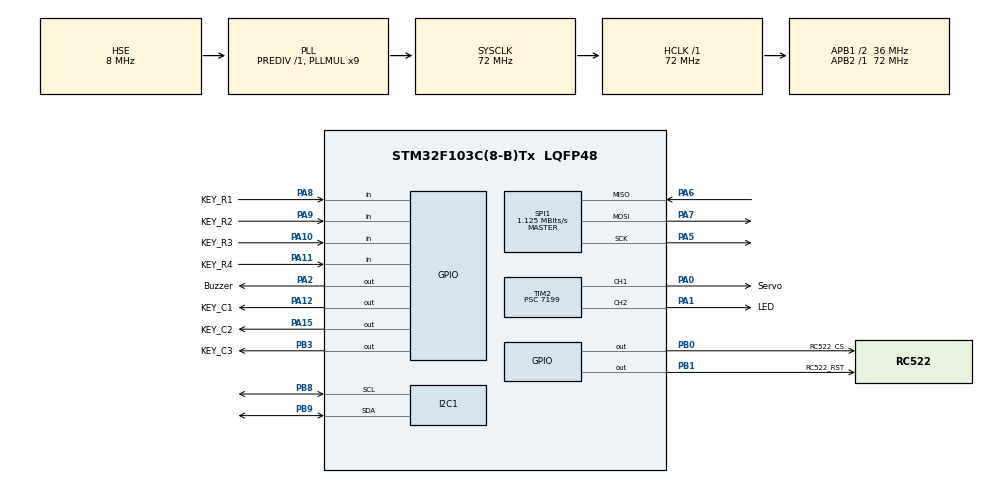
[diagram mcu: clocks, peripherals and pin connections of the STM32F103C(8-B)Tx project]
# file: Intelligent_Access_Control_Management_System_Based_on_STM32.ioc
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FREERTOS.Tasks01=defaultTask,0,128,StartDefaultTask,Default,NULL,Dynamic,NULL,NULL
Mcu.Family=STM32F1
Mcu.Name=STM32F103C(8-B)Tx
Mcu.Package=LQFP48
NVIC.PriorityGroup=NVIC_PRIORITYGROUP_4
NVIC.TIM1_UP_IRQn=true\:15\:0\:false\:false\:true\:false\:false\:true\:true
NVIC.TimeBase=TIM1_UP_IRQn
NVIC.TimeBaseIP=TIM1
PA0-WKUP.GPIO_Label=Servo
PA0-WKUP.Signal=S_TIM2_CH1_ETR
PA1.GPIO_Label=LED
PA1.Signal=S_TIM2_CH2
PA10.GPIO_Label=KEY_R3
PA10.GPIO_PuPd=GPIO_PULLUP
PA10.Signal=GPIO_Input
PA11.GPIO_Label=KEY_R4
PA11.GPIO_PuPd=GPIO_PULLUP
PA11.Signal=GPIO_Input
PA12.GPIO_Label=KEY_C1
PA12.GPIO_Speed=GPIO_SPEED_FREQ_HIGH
PA12.PinState=GPIO_PIN_SET
PA12.Signal=GPIO_Output
PA13.Mode=Serial_Wire
PA13.Signal=SYS_JTMS-SWDIO
PA14.Mode=Serial_Wire
PA14.Signal=SYS_JTCK-SWCLK
PA15.GPIO_Label=KEY_C2
PA15.GPIO_Speed=GPIO_SPEED_FREQ_HIGH
PA15.PinState=GPIO_PIN_SET
PA15.Signal=GPIO_Output
PA2.GPIO_Label=Buzzer
PA2.GPIO_Speed=GPIO_SPEED_FREQ_HIGH
PA2.PinState=GPIO_PIN_SET
PA2.Signal=GPIO_Output
PA5.Mode=Full_Duplex_Master
PA5.Signal=SPI1_SCK
PA6.Mode=Full_Duplex_Master
PA6.Signal=SPI1_MISO
PA7.Mode=Full_Duplex_Master
PA7.Signal=SPI1_MOSI
PA8.GPIO_Label=KEY_R1
PA8.GPIO_PuPd=GPIO_PULLUP
PA8.Signal=GPIO_Input
PA9.GPIO_Label=KEY_R2
PA9.GPIO_PuPd=GPIO_PULLUP
PA9.Signal=GPIO_Input
PB0.GPIO_Label=RC522_CS
PB0.GPIO_Speed=GPIO_SPEED_FREQ_HIGH
PB0.PinState=GPIO_PIN_SET
PB0.Signal=GPIO_Output
PB1.GPIO_Label=RC522_RST
PB1.GPIO_Speed=GPIO_SPEED_FREQ_HIGH
PB1.PinState=GPIO_PIN_SET
PB1.Signal=GPIO_Output
PB3.GPIO_Label=KEY_C3
PB3.GPIO_Speed=GPIO_SPEED_FREQ_HIGH
PB3.PinState=GPIO_PIN_SET
PB3.Signal=GPIO_Output
PB8.Mode=I2C
PB8.Signal=I2C1_SCL
PB9.Mode=I2C
PB9.Signal=I2C1_SDA
PC14-OSC32_IN.Mode=LSE-External-Oscillator
PC14-OSC32_IN.Signal=RCC_OSC32_IN
PC15-OSC32_OUT.Mode=LSE-External-Oscillator
PC15-OSC32_OUT.Signal=RCC_OSC32_OUT
PD0-OSC_IN.Mode=HSE-External-Oscillator
PD0-OSC_IN.Signal=RCC_OSC_IN
PD1-OSC_OUT.Mode=HSE-External-Oscillator
PD1-OSC_OUT.Signal=RCC_OSC_OUT
ProjectManager.HeapSize=0x200
ProjectManager.StackSize=0x400
ProjectManager.TargetToolchain=MDK-ARM V5.32
RCC.AHBFreq_Value=72000000
RCC.APB1CLKDivider=RCC_HCLK_DIV2
RCC.APB1Freq_Value=36000000
RCC.APB1TimFreq_Value=72000000
RCC.APB2Freq_Value=72000000
RCC.APB2TimFreq_Value=72000000
RCC.HCLKFreq_Value=72000000
RCC.PLLMUL=RCC_PLL_MUL9
RCC.PLLSourceVirtual=RCC_PLLSOURCE_HSE
RCC.SYSCLKFreq_VALUE=72000000
RCC.SYSCLKSource=RCC_SYSCLKSOURCE_PLLCLK
RCC.USBFreq_Value=72000000
SH.S_TIM2_CH1_ETR.0=TIM2_CH1,PWM Generation1 CH1
SH.S_TIM2_CH2.0=TIM2_CH2,PWM Generation2 CH2
SPI1.BaudRatePrescaler=SPI_BAUDRATEPRESCALER_64
SPI1.CalculateBaudRate=1.125 MBits/s
SPI1.Direction=SPI_DIRECTION_2LINES
SPI1.Mode=SPI_MODE_MASTER
SPI1.VirtualType=VM_MASTER
TIM2.Channel-PWM\ Generation1\ CH1=TIM_CHANNEL_1
TIM2.Channel-PWM\ Generation2\ CH2=TIM_CHANNEL_2
TIM2.OCPolarity_1=TIM_OCPOLARITY_HIGH
TIM2.Period=99
TIM2.Prescaler=7199
VP_FREERTOS_VS_CMSIS_V1.Mode=CMSIS_V1
VP_SYS_VS_tim1.Mode=TIM1
VP_TIM2_VS_ClockSourceINT.Mode=Internal
board=custom

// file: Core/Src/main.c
/* USER CODE BEGIN Header */
/**
  ******************************************************************************
  * @file           : main.c
  * @brief          : Main program body
  ******************************************************************************
  * @attention
  *
  * Copyright (c) 2026 STMicroelectronics.
  * All rights reserved.
  *
  * This software is licensed under terms that can be found in the LICENSE file
  * in the root directory of this software component.
  * If no LICENSE file comes with this software, it is provided AS-IS.
  *
  ******************************************************************************
  */
/* USER CODE END Header */
#include "main.h"
#include "cmsis_os.h"
#include "i2c.h"
#include "spi.h"
#include "tim.h"
#include "gpio.h"

/* USER CODE BEGIN Includes */
#include "OLED.h"
#include "Buzzer.h"
#include "RC522.h"
/* USER CODE END Includes */

void SystemClock_Config(void);
void MX_FREERTOS_Init(void);

int main(void)
{

  /* MCU Configuration--------------------------------------------------------*/

  /* Reset of all peripherals, Initializes the Flash interface and the Systick. */
  HAL_Init();

  /* Configure the system clock */
  SystemClock_Config();

  /* Initialize all configured peripherals */
  MX_GPIO_Init();
  MX_I2C1_Init();
  MX_SPI1_Init();
  MX_TIM2_Init();
  /* USER CODE BEGIN 2 */
  //OLED_Init();

  /* USER CODE END 2 */

  /* Call init function for freertos objects (in freertos.c) */
  //MX_FREERTOS_Init();

  /* Start scheduler */
  //osKernelStart();

  /* We should never get here as control is now taken by the scheduler */
  /* Infinite loop */
  /* USER CODE BEGIN WHILE */
  int8_t status;
  unsigned char TagType[2];  // 卡片类型
  unsigned char SN[4];       // 4字节卡号

  RC522_Init();
  OLED_Init();
  OLED_Clear();

  while (1)
  {
    /* USER CODE END WHILE */

    /* USER CODE BEGIN 3 */
    status = RC522_Request(PICC_REQIDL, TagType);
    OLED_ShowSignedNum(4,1,status,4);
    if(status == MI_OK)
    {
        // 防冲突读取UID
        if(RC522_Anticoll(SN) == MI_OK)
        {

          OLED_ShowHexNum(1, 1, SN[0], 2);
          OLED_ShowHexNum(1,3, SN[1], 2);
          OLED_ShowHexNum(1,5, SN[2], 2);
          OLED_ShowHexNum(1,7, SN[3], 2);

          // 卡片休眠
          RC522_Halt();
        }
    }
    HAL_Delay(200);

  }
  /* USER CODE END 3 */
}

void SystemClock_Config(void)
{
  RCC_OscInitTypeDef RCC_OscInitStruct = {0};
  RCC_ClkInitTypeDef RCC_ClkInitStruct = {0};

  /** Initializes the RCC Oscillators according to the specified parameters
  * in the RCC_OscInitTypeDef structure.
  */
  RCC_OscInitStruct.OscillatorType = RCC_OSCILLATORTYPE_HSE;
  RCC_OscInitStruct.HSEState = RCC_HSE_ON;
  RCC_OscInitStruct.HSEPredivValue = RCC_HSE_PREDIV_DIV1;
  RCC_OscInitStruct.HSIState = RCC_HSI_ON;
  RCC_OscInitStruct.PLL.PLLState = RCC_PLL_ON;
  RCC_OscInitStruct.PLL.PLLSource = RCC_PLLSOURCE_HSE;
  RCC_OscInitStruct.PLL.PLLMUL = RCC_PLL_MUL9;
  if (HAL_RCC_OscConfig(&RCC_OscInitStruct) != HAL_OK)
  {
    Error_Handler();
  }

  /** Initializes the CPU, AHB and APB buses clocks
  */
  RCC_ClkInitStruct.ClockType = RCC_CLOCKTYPE_HCLK|RCC_CLOCKTYPE_SYSCLK
                              |RCC_CLOCKTYPE_PCLK1|RCC_CLOCKTYPE_PCLK2;
  RCC_ClkInitStruct.SYSCLKSource = RCC_SYSCLKSOURCE_PLLCLK;
  RCC_ClkInitStruct.AHBCLKDivider = RCC_SYSCLK_DIV1;
  RCC_ClkInitStruct.APB1CLKDivider = RCC_HCLK_DIV2;
  RCC_ClkInitStruct.APB2CLKDivider = RCC_HCLK_DIV1;

  if (HAL_RCC_ClockConfig(&RCC_ClkInitStruct, FLASH_LATENCY_2) != HAL_OK)
  {
    Error_Handler();
  }
}

void HAL_TIM_PeriodElapsedCallback(TIM_HandleTypeDef *htim)
{
  if (htim->Instance == TIM1) {
    HAL_IncTick();
  }
}

void Error_Handler(void)
{
  __disable_irq();
  while (1)
  {
  }
}
